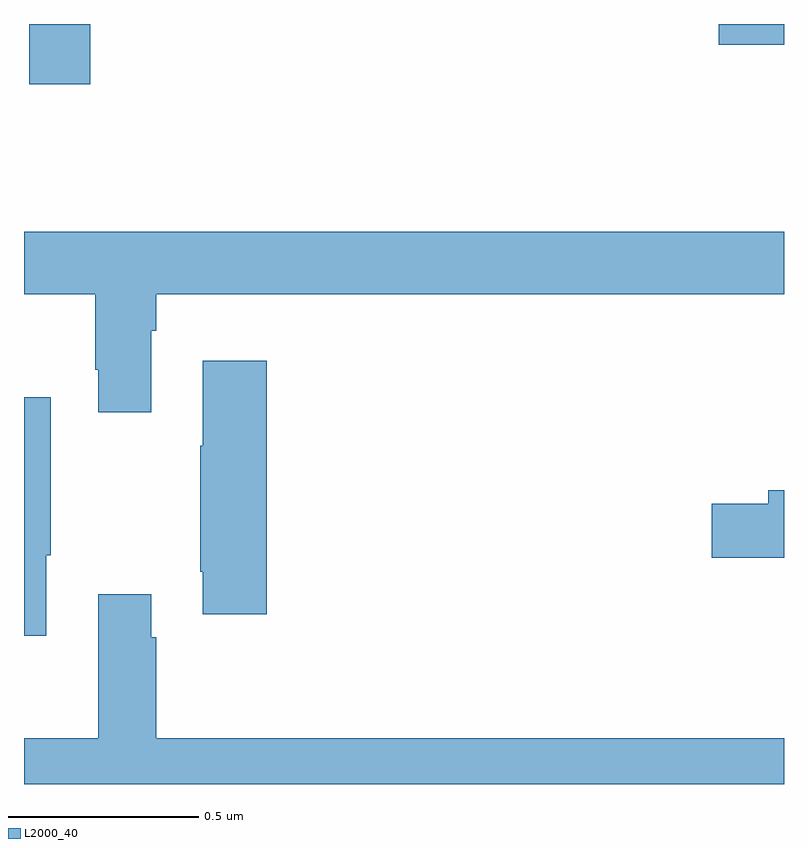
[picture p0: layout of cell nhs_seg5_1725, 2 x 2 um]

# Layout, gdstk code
import gdstk
lib = gdstk.Library(unit=1e-6, precision=1e-09)
def R(c, l, rs):  # rectangles x0, y0, x1, y1
    for r in rs: c.add(gdstk.rectangle(r[:2], r[2:], *l))
def P(c, l, *ps):  # polygons
    for p in ps: c.add(gdstk.Polygon(p, *l))
L2000_40 = (2000, 40)

nhs_seg5_1725 = lib.new_cell('nhs_seg5_1725')
R(nhs_seg5_1725, L2000_40, [(134.014,862.641,134.174,862.799), (135.828,862.745,136,862.799)])
P(nhs_seg5_1725, L2000_40, [(134.335,861.992),(134.348,861.992),(134.348,862.088),(136,862.088),(136,862.252),(134,862.252),(134,862.088),(134.188,862.088),(134.188,861.889),(134.195,861.889),(134.195,861.777),(134.335,861.777)],
  [(134.639,861.913),(134.471,861.913),(134.471,861.689),(134.464,861.689),(134.464,861.358),(134.471,861.358),(134.471,861.246),(134.639,861.246)],
  [(134.059,861.401),(134.071,861.401),(134.071,861.817),(134,861.817),(134,861.189),(134.059,861.189)],
  [(136,861.572),(135.959,861.572),(135.959,861.536),(135.81,861.536),(135.81,861.394),(136,861.394)],
  [(136,860.92),(134.348,860.92),(134.348,861.185),(134.335,861.185),(134.335,861.298),(134.195,861.298),(134.195,860.92),(134,860.92),(134,860.799),(136,860.799)])

lib.write_gds('nhs_seg5_1725.gds')
